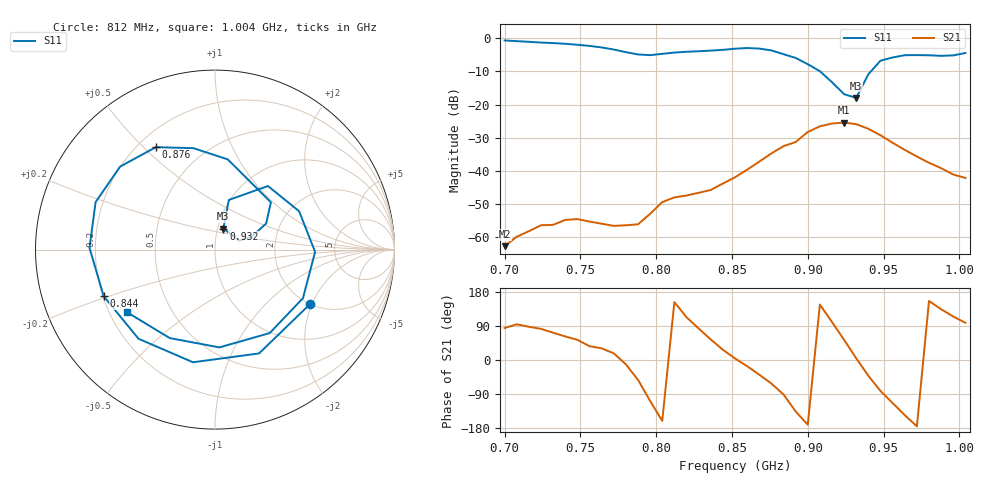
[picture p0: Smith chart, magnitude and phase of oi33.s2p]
# Hz S RI R 50
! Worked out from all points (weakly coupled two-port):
!   39 points, 700 MHz to 1.004 GHz, reference 50 ohm
!   highest |S21| = -25.47 dB at 924 MHz (marker M1); lowest = -62.9 dB at 700 MHz (marker M2)
!   lowest |S11| = -18.0 dB at 932 MHz (marker M3), VSWR 1.29, Z = 53.3 + j12.7 ohm
!   |S11| at or under -10 dB: 908.2 MHz to 941.6 MHz (33.41 MHz wide, 3.61 % of centre)
!   S12 and S22 are empty: the file has one direction only
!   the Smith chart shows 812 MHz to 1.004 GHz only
!   S11 on the Smith chart (normalised r, x): 812 MHz: 2.02, -1.94; 844 MHz: 0.20, -0.19; 876 MHz: 0.27, +0.55; 932 MHz: 1.07, +0.25; 1.004 GHz: 0.27, -0.30
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7e8  0.7649 0.5326  6.94e-05 0.000717  0 0  0 0
7.24e8  0.828 -0.2565  0.000204 0.00148  0 0  0 0
7.4e8  0.4476 -0.6986  0.000838 0.00159  0 0  0 0
7.56e8  -0.1923 -0.7476  0.00137 0.00101  0 0  0 0
7.72e8  -0.653 -0.1885  0.00139 0.000442  0 0  0 0
7.8e8  -0.5765 0.2286  0.00146 -0.000295  0 0  0 0
7.88e8  -0.2232 0.5271  0.000942 -0.00122  0 0  0 0
7.96e8  0.2589 0.4955  -0.000687 -0.00211  0 0  0 0
8.04e8  0.5672 0.1408  -0.00316 -0.0011  0 0  0 0
8.12e8  0.532 -0.3011  -0.0035 0.0018  0 0  0 0
8.28e8  -0.1224 -0.6277  0.000549 0.00458  0 0  0 0
8.44e8  -0.6203 -0.2595  0.00569 0.0029  0 0  0 0
8.52e8  -0.6993 0.00992  0.00791 0.000565  0 0  0 0
8.76e8  -0.3295 0.5707  0.00855 -0.0161  0 0  0 0
9e8  0.3114 0.2635  -0.0379 -0.0062  0 0  0 0
9.08e8  0.2848 0.1448  -0.039 0.0259  0 0  0 0
9.24e8  0.1344 0.0496  0.0321 0.0425  0 0  0 0
9.32e8  0.0464 0.1175  0.0503 0.00386  0 0  0 0
9.48e8  0.2951 0.3542  0.00491 -0.0339  0 0  0 0
9.56e8  0.4688 0.2137  -0.0106 -0.0242  0 0  0 0
9.8e8  0.305 -0.465  -0.012 0.00541  0 0  0 0
1.004e9  -0.4905 -0.3488  -0.0011 0.00768  0 0  0 0
